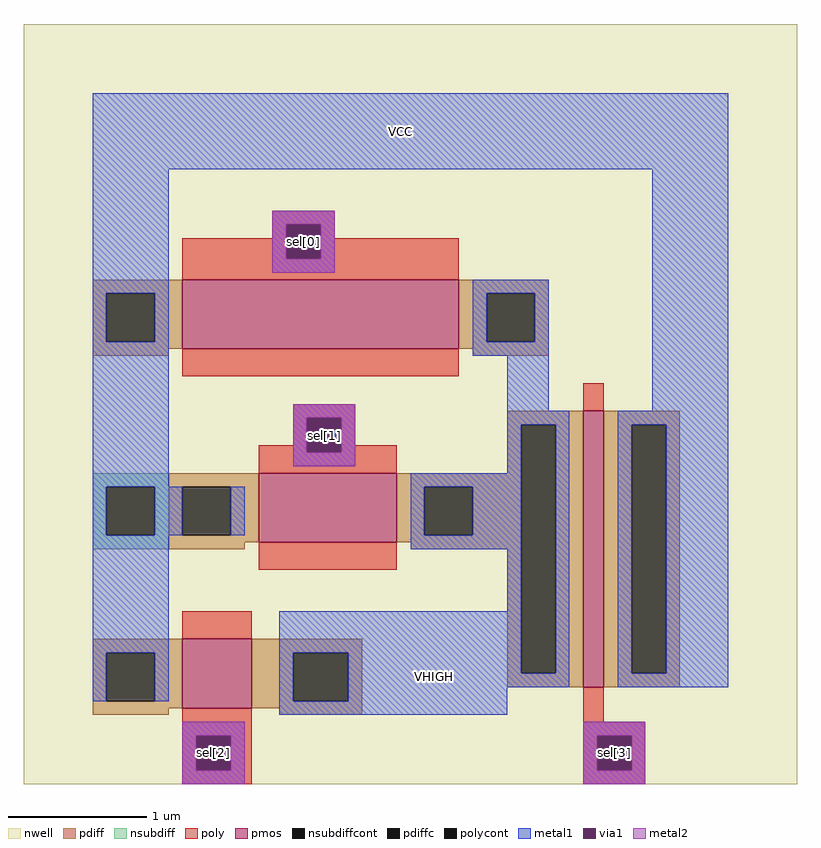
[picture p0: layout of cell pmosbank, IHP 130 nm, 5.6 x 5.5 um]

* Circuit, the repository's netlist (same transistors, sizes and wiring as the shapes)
** sch_path: /home/anton/projects/ttihp26a-fomo/xschem/pmosbank.sch
.subckt pmosbank VCC VHIGH sel[3] sel[2] sel[1] sel[0]
*.PININFO VCC:I VHIGH:O sel[3:0]:I
M1 VHIGH sel[0] VCC VCC sg13_lv_pmos w=0.5u l=2u ng=1
M3 VHIGH sel[1] VCC VCC sg13_lv_pmos w=0.5u l=1u ng=1
M6 VHIGH sel[2] VCC VCC sg13_lv_pmos w=0.5u l=0.5u ng=1
M8 VHIGH sel[3] VCC VCC sg13_lv_pmos w=2u l=0.15u ng=1
.ends

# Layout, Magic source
magic
tech ihp-sg13g2
<< nwell >>
rect -115 -300 445 250
<< pmos >>
rect 0 15 200 65
rect 55 -125 155 -75
rect 0 -245 50 -195
rect 290 -230 305 -30
<< pdiff >>
rect -65 55 0 65
rect -65 20 -55 55
rect -20 20 0 55
rect -65 15 0 20
rect 200 55 265 65
rect 200 20 220 55
rect 255 20 265 55
rect 200 15 265 20
rect -65 10 -10 15
rect 210 10 265 15
rect 235 -40 290 -30
rect 235 -75 245 -40
rect -10 -85 55 -75
rect -10 -120 0 -85
rect 35 -120 55 -85
rect -10 -125 55 -120
rect 155 -85 245 -75
rect 155 -120 175 -85
rect 210 -120 245 -85
rect 155 -125 245 -120
rect -10 -130 45 -125
rect 165 -130 245 -125
rect -65 -205 0 -195
rect -65 -240 -55 -205
rect -20 -240 0 -205
rect -65 -245 0 -240
rect 50 -205 130 -195
rect 50 -240 80 -205
rect 120 -240 130 -205
rect 235 -220 245 -130
rect 270 -220 290 -40
rect 235 -230 290 -220
rect 305 -40 360 -30
rect 305 -220 325 -40
rect 350 -220 360 -40
rect 305 -230 360 -220
rect 50 -245 130 -240
rect -65 -250 -10 -245
rect 70 -250 130 -245
<< pdiffc >>
rect -55 20 -20 55
rect 220 20 255 55
rect 0 -120 35 -85
rect 175 -120 210 -85
rect -55 -240 -20 -205
rect 80 -240 120 -205
rect 245 -220 270 -40
rect 325 -220 350 -40
<< nsubdiff >>
rect -65 -85 -10 -75
rect -65 -120 -55 -85
rect -20 -120 -10 -85
rect -65 -130 -10 -120
<< nsubdiffcont >>
rect -55 -120 -20 -85
<< poly >>
rect 65 105 110 115
rect 65 95 75 105
rect 0 80 75 95
rect 100 95 110 105
rect 100 80 200 95
rect 0 65 200 80
rect 0 -5 200 15
rect 80 -35 125 -25
rect 290 -30 305 -10
rect 80 -55 90 -35
rect 55 -60 90 -55
rect 115 -55 125 -35
rect 115 -60 155 -55
rect 55 -75 155 -60
rect 55 -145 155 -125
rect 0 -195 50 -175
rect 0 -265 50 -245
rect 0 -290 10 -265
rect 35 -290 50 -265
rect 0 -300 50 -290
rect 290 -255 305 -230
rect 290 -265 335 -255
rect 290 -290 300 -265
rect 325 -290 335 -265
rect 290 -300 335 -290
<< polycont >>
rect 75 80 100 105
rect 90 -60 115 -35
rect 10 -290 35 -265
rect 300 -290 325 -265
<< metal1 >>
rect -65 145 395 200
rect -65 55 -10 145
rect 65 105 110 115
rect 65 80 75 105
rect 100 80 110 105
rect 65 70 110 80
rect -65 20 -55 55
rect -20 20 -10 55
rect -65 -85 -10 20
rect 210 55 265 65
rect 210 20 220 55
rect 255 20 265 55
rect 210 10 265 20
rect 80 -35 125 -25
rect 80 -60 90 -35
rect 115 -60 125 -35
rect 80 -70 125 -60
rect 235 -30 265 10
rect 340 -30 395 145
rect 235 -40 280 -30
rect 235 -75 245 -40
rect 165 -85 245 -75
rect -65 -120 -55 -85
rect -20 -120 0 -85
rect 35 -120 45 -85
rect 165 -120 175 -85
rect 210 -120 245 -85
rect -65 -205 -10 -120
rect 165 -130 245 -120
rect 235 -175 245 -130
rect -65 -240 -55 -205
rect -20 -240 -10 -205
rect 70 -205 245 -175
rect 70 -240 80 -205
rect 120 -220 245 -205
rect 270 -220 280 -40
rect 120 -230 280 -220
rect 315 -40 395 -30
rect 315 -220 325 -40
rect 350 -220 395 -40
rect 315 -230 395 -220
rect 120 -240 235 -230
rect 70 -250 235 -240
rect 0 -265 45 -255
rect 0 -290 10 -265
rect 35 -290 45 -265
rect 0 -300 45 -290
rect 290 -265 335 -255
rect 290 -290 300 -265
rect 325 -290 335 -265
rect 290 -300 335 -290
<< via1 >>
rect 75 80 100 105
rect 90 -60 115 -35
rect 10 -290 35 -265
rect 300 -290 325 -265
<< metal2 >>
rect 65 105 110 115
rect 65 80 75 105
rect 100 80 110 105
rect 65 70 110 80
rect 80 -35 125 -25
rect 80 -60 90 -35
rect 115 -60 125 -35
rect 80 -70 125 -60
rect 0 -265 45 -255
rect 0 -290 10 -265
rect 35 -290 45 -265
rect 0 -300 45 -290
rect 290 -265 335 -255
rect 290 -290 300 -265
rect 325 -290 335 -265
rect 290 -300 335 -290
<< labels >>
flabel metal1 130 145 185 200 0 FreeSans 80 0 0 0 VCC
port 8 nsew
flabel metal1 155 -250 210 -195 0 FreeSans 80 0 0 0 VHIGH
port 9 nsew
flabel metal2 65 70 110 115 0 FreeSans 80 0 0 0 sel[0]
port 10 nsew
flabel metal2 80 -70 125 -25 0 FreeSans 80 0 0 0 sel[1]
port 11 nsew
flabel metal2 0 -300 45 -255 0 FreeSans 80 0 0 0 sel[2]
port 12 nsew
flabel metal2 290 -300 335 -255 0 FreeSans 80 0 0 0 sel[3]
port 13 nsew
<< end >>
